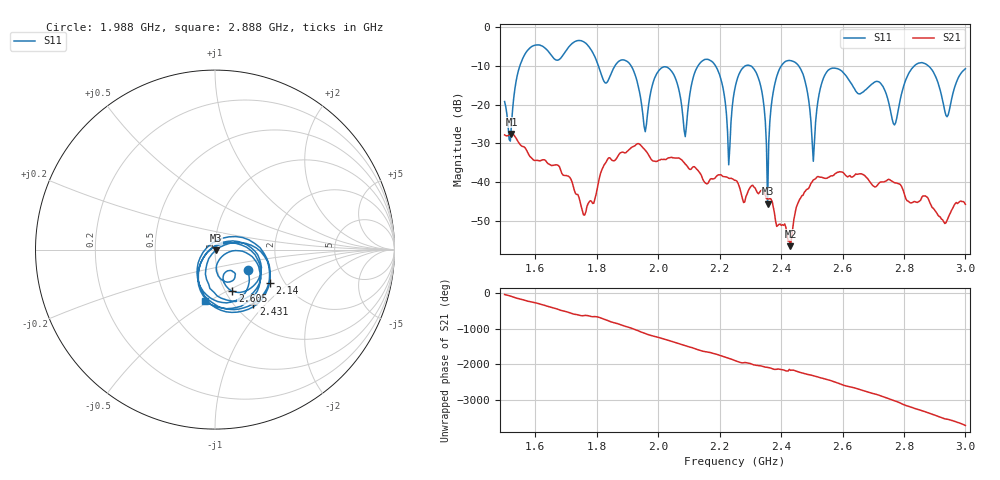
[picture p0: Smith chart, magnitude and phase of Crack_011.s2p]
# HZ S RI R 50
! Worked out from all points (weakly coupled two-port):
!   404 points, 1.5 GHz to 3 GHz, reference 50 ohm
!   highest |S21| = -27.55 dB at 1.522 GHz (marker M1); lowest = -56.5 dB at 2.431 GHz (marker M2)
!   lowest |S11| = -45.6 dB at 2.356 GHz (marker M3), VSWR 1.01, Z = 50.4 - j0.31 ohm
!   |S11| at or under -10 dB: 1.912 GHz to 2.13 GHz (218.3 MHz wide, 10.8 % of centre); 2.457 GHz to 2.834 GHz (377 MHz wide, 14.3 % of centre); 2.879 GHz to end of sweep (the widest 3 of 7)
!   S12 and S22 are empty: the file has one direction only
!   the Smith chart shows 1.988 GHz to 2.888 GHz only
!   S11 on the Smith chart (normalised r, x): 1.988 GHz: 1.40, -0.34; 2.14 GHz: 1.68, -0.71; 2.431 GHz: 1.22, -0.85; 2.605 GHz: 1.08, -0.53; 2.888 GHz: 0.76, -0.47
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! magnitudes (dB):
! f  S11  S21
! 1.5 GHz  -19.2  -27.8
! 1.522 GHz  -25.1  -27.5
! 1.578 GHz  -5.7  -32.8
! 1.753 GHz  -3.6  -47.3
! 1.906 GHz  -9.3  -31.6
! 1.958 GHz  -27.0  -31.7
! 1.988 GHz  -13.3  -34.6
! 2.002 GHz  -11.2  -34.3
! 2.088 GHz  -28.3  -35.3
! 2.14 GHz  -9.0  -38.2
! 2.196 GHz  -11.5  -38.1
! 2.23 GHz  -35.5  -39.0
! 2.252 GHz  -15.0  -39.5
! 2.319 GHz  -11.7  -42.1
! 2.356 GHz  -45.6  -44.3
! 2.431 GHz  -8.7  -56.5
! 2.501 GHz  -29.6  -39.9
! 2.605 GHz  -12.0  -37.8
! 2.751 GHz  -19.6  -39.3
! 2.888 GHz  -10.8  -46.0
! 2.94 GHz  -23.1  -49.8
! 3 GHz  -10.8  -45.7
